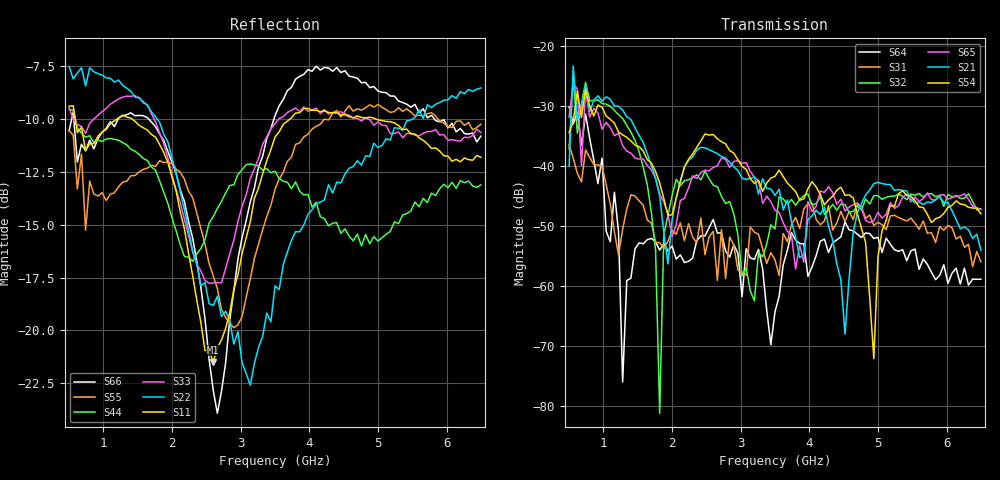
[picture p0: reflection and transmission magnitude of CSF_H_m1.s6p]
!Keysight Technologies,M9804A,MY58100912,A.14.10.03
!Date: Thursday, April 27, 2023 10:28:33
!Correction: S11(C  6-Port  )
!S12(C  6-Port  )
!S13(C  6-Port  )
!S14(C  6-Port  )
!S15(C  6-Port  )
!S16(C  6-Port  )
!S21(C  6-Port  )
!S22(C  6-Port  )
!S23(C  6-Port  )
!S24(C  6-Port  )
!S25(C  6-Port  )
!S26(C  6-Port  )
!S31(C  6-Port  )
!S32(C  6-Port  )
!S33(C  6-Port  )
!S34(C  6-Port  )
!S35(C  6-Port  )
!S36(C  6-Port  )
!S41(C  6-Port  )
!S42(C  6-Port  )
!S43(C  6-Port  )
!S44(C  6-Port  )
!S45(C  6-Port  )
!S46(C  6-Port  )
!S51(C  6-Port  )
!S52(C  6-Port  )
!S53(C  6-Port  )
!S54(C  6-Port  )
!S55(C  6-Port  )
!S56(C  6-Port  )
!S61(C  6-Port  )
!S62(C  6-Port  )
!S63(C  6-Port  )
!S64(C  6-Port  )
!S65(C  6-Port  )
!S66(C  6-Port  )
!S6P File: Measurement: :
# Hz S  RI  R 50
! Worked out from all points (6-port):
!   101 points, 500 MHz to 6.5 GHz, reference 50 ohm
!   strongest paths, dB at 500 MHz, 2 GHz, 3.5 GHz, 5 GHz, 6.5 GHz:
!     S54: -34.4, -48.1, -41.7, -55.1, -47.9
!     S21: -40.1, -49.0, -44.9, -42.7, -54.0
!     S65: -31.9, -51.7, -47.3, -47.7, -47.2
!     S32: -37.1, -44.9, -50.5, -44.9, -47.1
!     S31: -36.4, -50.7, -55.6, -49.4, -55.9
!     S64: -30.2, -53.3, -64.2, -51.9, -58.8
!   lowest |S11| = -21.5 dB at 2.6 GHz (marker M1), VSWR 1.18, Z = 42.5 + j2.18 ohm
!   |S11| at or under -10 dB: 589.9 MHz to 1.192 GHz (601.7 MHz wide, 67.5 % of centre); 1.422 GHz to 3.715 GHz (2.293 GHz wide, 89.3 % of centre); 4.977 GHz to end of sweep
